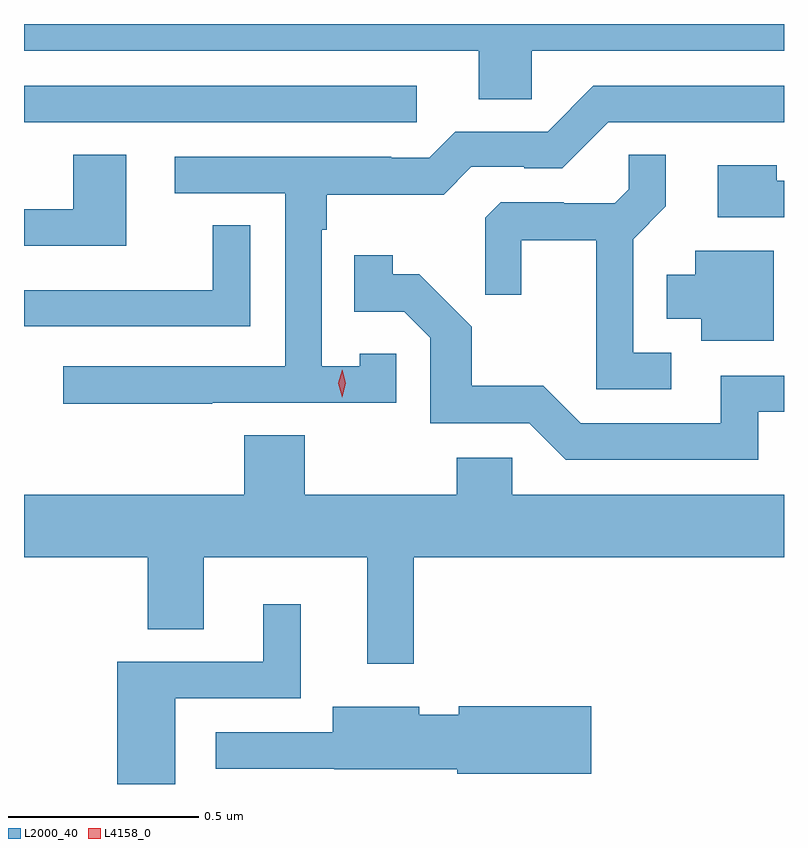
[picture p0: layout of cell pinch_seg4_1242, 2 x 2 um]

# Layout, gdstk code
import gdstk
lib = gdstk.Library(unit=1e-6, precision=1e-09)
def R(c, l, rs):  # rectangles x0, y0, x1, y1
    for r in rs: c.add(gdstk.rectangle(r[:2], r[2:], *l))
def P(c, l, *ps):  # polygons
    for p in ps: c.add(gdstk.Polygon(p, *l))
L2000_40 = (2000, 40)
L4158_0 = (4158, 0)

pinch_seg4_1242 = lib.new_cell('pinch_seg4_1242')
R(pinch_seg4_1242, L2000_40, [(338.048,825.936,339.082,826.032)])
P(pinch_seg4_1242, L2000_40, [(339.384,826.124),(340.048,826.124),(340.048,826.195),(338.048,826.195),(338.048,826.124),(339.245,826.124),(339.245,825.997),(339.384,825.997)],
  [(338.543,825.198),(339.027,825.198),(339.027,825.327),(338.931,825.327),(338.931,825.295),(338.832,825.295),(338.832,825.653),(338.845,825.653),(338.845,825.746),(339.152,825.746),(339.225,825.819),(339.364,825.819),(339.364,825.816),(339.465,825.816),(339.585,825.936),(340.048,825.936),(340.048,826.032),(339.546,826.032),(339.426,825.912),(339.183,825.912),(339.114,825.843),(339.014,825.843),(339.014,825.846),(338.445,825.846),(338.445,825.75),(338.736,825.75),(338.736,825.294),(338.151,825.294),(338.151,825.196),(338.543,825.196)],
  [(338.317,825.851),(338.177,825.851),(338.177,825.708),(338.048,825.708),(338.048,825.612),(338.317,825.612)],
  [(339.751,825.33),(339.651,825.33),(339.651,825.629),(339.737,825.715),(339.737,825.851),(339.639,825.851),(339.639,825.76),(339.602,825.723),(339.468,825.723),(339.468,825.726),(339.303,825.726),(339.262,825.685),(339.262,825.483),(339.356,825.483),(339.356,825.626),(339.554,825.626),(339.554,825.234),(339.751,825.234)],
  [(340.048,825.783),(340.029,825.783),(340.029,825.823),(339.873,825.823),(339.873,825.687),(340.048,825.687)],
  [(338.643,825.665),(338.545,825.665),(338.545,825.495),(338.149,825.495),(338.149,825.494),(338.048,825.494),(338.048,825.399),(338.643,825.399)],
  [(340.021,825.598),(339.815,825.598),(339.815,825.535),(339.74,825.535),(339.74,825.419),(339.83,825.419),(339.83,825.362),(340.021,825.362)],
  [(339.98,825.174),(340.048,825.174),(340.048,825.27),(339.881,825.27),(339.881,825.144),(339.513,825.144),(339.415,825.243),(339.226,825.243),(339.226,825.398),(339.088,825.536),(339.018,825.536),(339.018,825.586),(338.917,825.586),(338.917,825.438),(339.048,825.438),(339.117,825.369),(339.117,825.144),(339.378,825.144),(339.474,825.048),(339.98,825.048)],
  [(339.073,824.792),(340.048,824.792),(340.048,824.956),(339.333,824.956),(339.333,825.054),(339.187,825.054),(339.187,824.956),(338.787,824.956),(338.787,825.113),(338.627,825.113),(338.627,824.956),(338.048,824.956),(338.048,824.792),(338.374,824.792),(338.374,824.602),(338.521,824.602),(338.521,824.792),(338.951,824.792),(338.951,824.511),(339.073,824.511)],
  [(338.446,824.421),(338.776,824.421),(338.776,824.668),(338.678,824.668),(338.678,824.517),(338.293,824.517),(338.293,824.195),(338.446,824.195)],
  [(339.541,824.4),(339.192,824.4),(339.192,824.377),(339.088,824.377),(339.088,824.398),(338.861,824.398),(338.861,824.331),(338.553,824.331),(338.553,824.235),(338.865,824.235),(338.865,824.234),(339.188,824.234),(339.188,824.222),(339.541,824.222)])
P(pinch_seg4_1242, L4158_0, [(338.885,825.213),(338.885,825.213),(338.875,825.249),(338.886,825.285),(338.886,825.285),(338.886,825.285),(338.895,825.249),(338.885,825.213)])

lib.write_gds('pinch_seg4_1242.gds')
